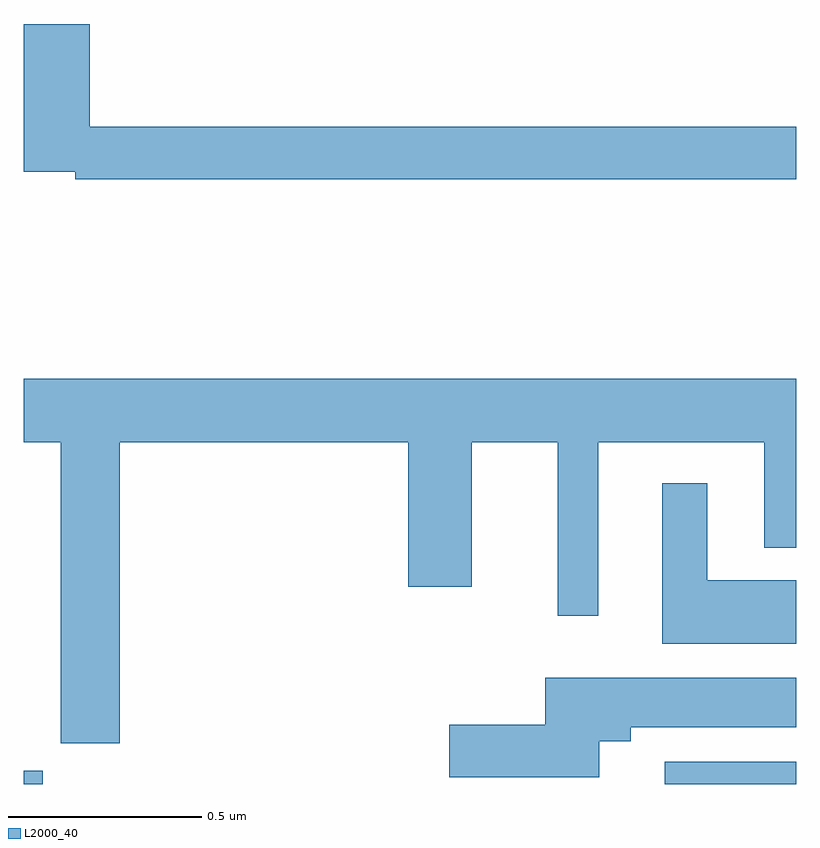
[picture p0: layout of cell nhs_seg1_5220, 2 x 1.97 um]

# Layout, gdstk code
import gdstk
lib = gdstk.Library(unit=1e-6, precision=1e-09)
def R(c, l, rs):  # rectangles x0, y0, x1, y1
    for r in rs: c.add(gdstk.rectangle(r[:2], r[2:], *l))
def P(c, l, *ps):  # polygons
    for p in ps: c.add(gdstk.Polygon(p, *l))
L2000_40 = (2000, 40)

nhs_seg1_5220 = lib.new_cell('nhs_seg1_5220')
R(nhs_seg1_5220, L2000_40, [(176,532.199,176.05,532.233), (177.659,532.199,178,532.257)])
P(nhs_seg1_5220, L2000_40, [(178,533.9),(176.171,533.9),(176.171,534.166),(176,534.166),(176,533.784),(176.134,533.784),(176.134,533.764),(178,533.764)],
  [(176.249,533.084),(176.996,533.084),(176.996,532.71),(177.16,532.71),(177.16,533.084),(177.383,533.084),(177.383,532.635),(177.487,532.635),(177.487,533.084),(177.917,533.084),(177.917,532.811),(178,532.811),(178,533.248),(176,533.248),(176,533.084),(176.096,533.084),(176.096,532.305),(176.249,532.305)],
  [(178,532.726),(177.769,532.726),(177.769,532.978),(177.653,532.978),(177.653,532.562),(178,532.562)],
  [(177.49,532.31),(177.571,532.31),(177.571,532.346),(178,532.346),(178,532.474),(177.35,532.474),(177.35,532.352),(177.102,532.352),(177.102,532.217),(177.49,532.217)])

lib.write_gds('nhs_seg1_5220.gds')
